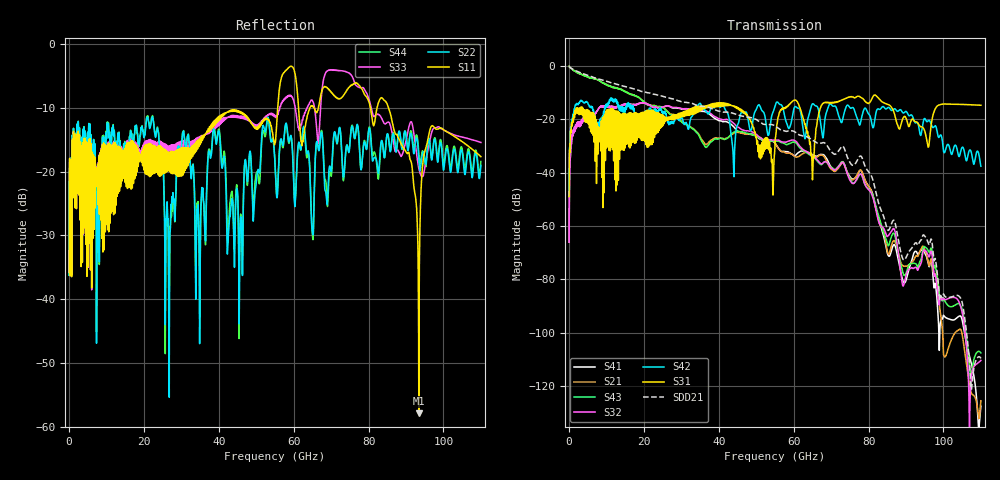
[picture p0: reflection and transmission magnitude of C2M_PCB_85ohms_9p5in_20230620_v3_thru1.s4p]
! Info: Touchstone file created by Circ.  Input file=C2M_PCB_85ohms_9p5in_20230620_v3.circ
# Hz S RI R 50
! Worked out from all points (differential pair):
!   11000 points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, 10 MHz to 110 GHz, reference 50 ohm
!   strongest paths, dB at 10 MHz, 27.51 GHz, 55.01 GHz, 82.51 GHz, 110 GHz:
!     S31: -48.9, -19.9, -29.2, -11.9, -14.8
!     S42: -48.7, -21.2, -15.0, -16.1, -37.6
!     S32: -66.0, -15.5, -27.8, -57.4, -110.3
!     S43: -0.1, -18.5, -28.2, -55.3, -107.5
!     S21: -0.1, -18.1, -28.8, -57.2, -125.4
!     S41: -66.0, -15.7, -29.0, -56.3, -127.5
!   taken as a pair (ports 3,1 in; 4,2 out), SDD21 dB: -0.1, -12.3, -22.5, -50.5, -109.6
!   lowest |S11| = -57.9 dB at 93.42 GHz (marker M1), VSWR 1.00, Z = 49.9 + j0.00457 ohm
!   |S11| at or under -10 dB: start of sweep to 55.73 GHz; 61.29 GHz to 64.32 GHz (3.03 GHz wide, 4.82 % of centre); 85.31 GHz to end of sweep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
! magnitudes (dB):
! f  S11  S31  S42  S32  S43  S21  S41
! 10 MHz  -35.8  -48.9  -48.7  -66.0  -0.1  -0.1  -66.0
! 8.33 GHz  -19.3  -22.9  -20.2  -15.4  -5.8  -5.8  -15.4
! 36.21 GHz  -14.3  -15.4  -16.6  -16.7  -30.1  -29.2  -17.1
! 54.41 GHz  -14.2  -46.5  -17.5  -27.8  -28.2  -28.2  -28.3
! 73.09 GHz  -8.2  -12.7  -19.9  -36.1  -35.9  -36.3  -36.0
! 93.42 GHz  -57.9  -22.0  -22.9  -75.5  -74.4  -70.5  -70.2
! 110 GHz  -17.7  -14.8  -37.6  -110.3  -107.5  -125.4  -127.5
